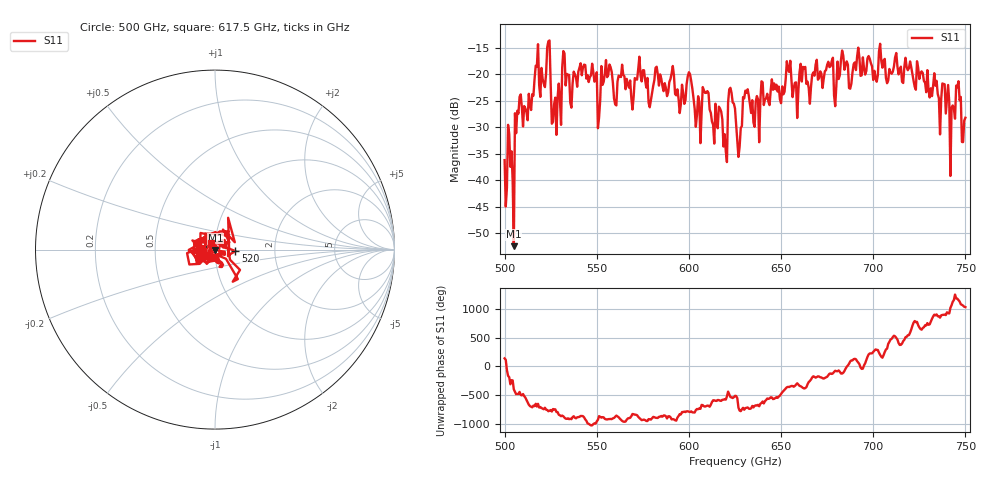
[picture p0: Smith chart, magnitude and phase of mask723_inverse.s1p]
!Created with skrf (http://scikit-rf.org).
# GHz S MA R 50.0
!freq magS11 angS11
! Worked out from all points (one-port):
!   401 points, 500 GHz to 750 GHz, reference 50 ohm
!   lowest |S11| = -52.5 dB at 505 GHz (marker M1), VSWR 1.00, Z = 50.2 - j0.156 ohm
!   |S11| at or under -10 dB: start of sweep to end of sweep
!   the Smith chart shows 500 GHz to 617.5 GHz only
!   S11 on the Smith chart (normalised r, x): 500 GHz: 0.98, +0.02; 520 GHz: 1.26, -0.02; 617.5 GHz: 0.95, +0.07
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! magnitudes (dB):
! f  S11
! 500 GHz  -36.2
! 505 GHz  -52.5
! 508.1 GHz  -24.3
! 520 GHz  -18.8
! 523.8 GHz  -13.8
! 526.9 GHz  -25.6
! 531.2 GHz  -18.7
! 542.5 GHz  -18.7
! 550.6 GHz  -30.2
! 562.5 GHz  -20.4
! 593.8 GHz  -22.9
! 600 GHz  -19.6
! 605 GHz  -24.2
! 608.8 GHz  -23.5
! 617.5 GHz  -27.1
! 619.4 GHz  -31.3
! 622.5 GHz  -22.6
! 625 GHz  -26.5
! 627.5 GHz  -33.7
! 630.6 GHz  -23.1
! 636.9 GHz  -24.1
! 656.2 GHz  -24.3
! 687.5 GHz  -22.7
! 718.8 GHz  -19.3
! 739.4 GHz  -27.4
! 743.1 GHz  -25.9
! 746.2 GHz  -21.3
! 750 GHz  -28.2
